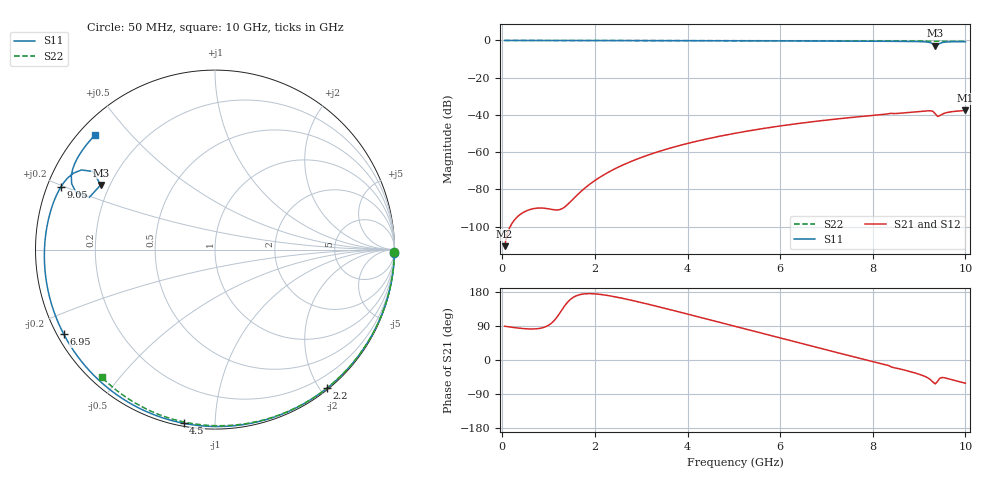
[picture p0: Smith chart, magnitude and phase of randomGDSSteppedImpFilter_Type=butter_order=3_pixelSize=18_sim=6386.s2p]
! freq	dB(S11)	phase(S11)	dB(S12)	phase(S12)
!  dB(S21)	phase(S21)	dB(S22)	phase(S22)
!S-par simulation data
#  GHz  S  DB  R 50
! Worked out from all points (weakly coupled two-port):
!   200 points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, 50 MHz to 10 GHz, reference 50 ohm
!   highest |S21| = -37.59 dB at 10 GHz (marker M1); lowest = -110.4 dB at 50 MHz (marker M2)
!   lowest |S11| = -2.7 dB at 9.35 GHz (marker M3), VSWR 6.46, Z = 8.27 + j12.8 ohm
!   |S11| at or under -10 dB: nowhere
!   |S22| runs from -0.4 to 0.0 dB; largest |S21 - S12| = 0
!   S11 on the Smith chart (normalised r, x): 50 MHz: 0, -96; 2.2 GHz: 0.02, -2.10; 4.5 GHz: 0.01, -0.84; 6.95 GHz: 0.02, -0.26; 9.05 GHz: 0.04, +0.20; 10 GHz: 0.05, +0.40
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0.05  -0.00 -1.2  -110.44 89.1  -110.44 89.1  -0.00 -0.8
0.85  -0.02 -20.1  -89.96 84.5  -89.96 84.5  -0.02 -12.9
1.75  -0.05 -40.8  -79.96 174.2  -79.96 174.2  -0.03 -26.2
2.2  -0.06 -50.9  -72.03 171.7  -72.03 171.7  -0.04 -32.8
2.75  -0.08 -63.1  -65.28 158.7  -65.28 158.7  -0.05 -40.8
3.4  -0.10 -77.2  -59.46 139.7  -59.46 139.7  -0.07 -50.0
4.5  -0.14 -100.2  -52.42 105.5  -52.42 105.5  -0.09 -65.0
5.05  -0.17 -111.5  -49.73 88.1  -49.73 88.1  -0.11 -72.3
5.85  -0.22 -127.9  -46.46 62.8  -46.46 62.8  -0.14 -82.6
6.7  -0.28 -145.5  -43.63 36.1  -43.63 36.1  -0.18 -93.2
6.95  -0.30 -150.8  -42.90 28.3  -42.90 28.3  -0.19 -96.3
7.7  -0.38 -167.2  -40.95 4.9  -40.95 4.9  -0.24 -105.2
8.35  -0.46 177.4  -39.30 -14.9  -39.30 -14.9  -0.28 -112.9
9.05  -0.66 157.8  -38.08 -39.6  -38.08 -39.6  -0.35 -120.9
9.25  -1.25 149.2  -37.76 -52.3  -37.76 -52.3  -0.37 -123.2
9.3  -1.86 147.4  -38.09 -58.3  -38.09 -58.3  -0.37 -123.7
9.35  -2.71 150.5  -39.37 -63.1  -39.37 -63.1  -0.38 -124.3
9.4  -2.40 157.5  -40.79 -56.0  -40.79 -56.0  -0.38 -124.9
9.45  -1.56 157.7  -40.34 -47.7  -40.34 -47.7  -0.39 -125.4
9.5  -1.12 155.3  -39.58 -46.1  -39.58 -46.1  -0.39 -126.0
9.7  -0.72 146.5  -38.27 -51.8  -38.27 -51.8  -0.41 -128.3
10  -0.69 136.2  -37.59 -61.3  -37.59 -61.3  -0.45 -131.6
